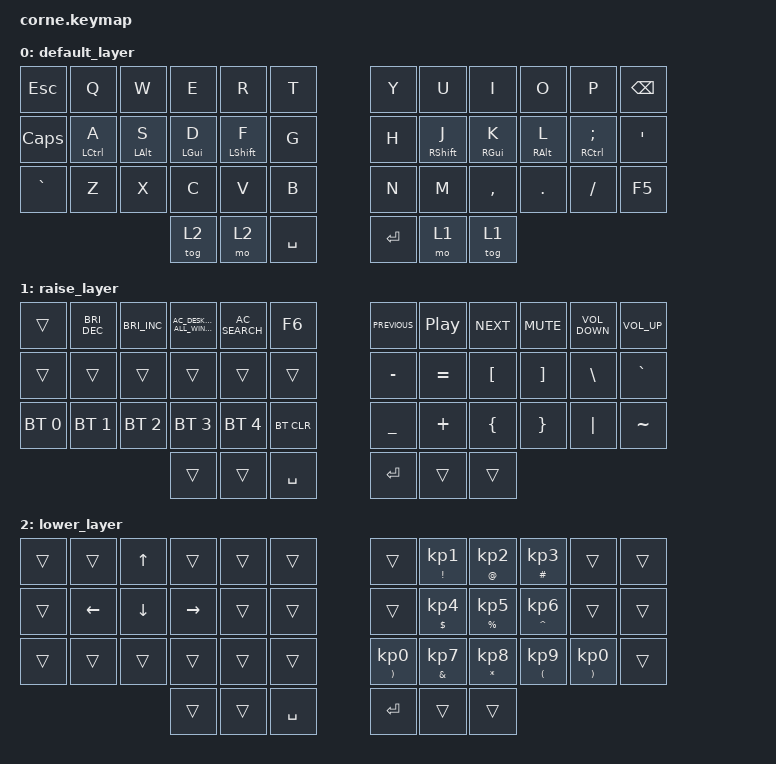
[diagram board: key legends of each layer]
/*
 * Copyright (c) 2020 The ZMK Contributors
 *
 * SPDX-License-Identifier: MIT
 */

#include <behaviors.dtsi>
#include <dt-bindings/zmk/bt.h>
#include <dt-bindings/zmk/keys.h>

/ {
    behaviors {
        HMR: HMR {
            compatible = "zmk,behavior-hold-tap";
            label = "HMR";
            bindings = <&kp>, <&kp>;

            #binding-cells = <2>;
            tapping-term-ms = <280>;
            quick-tap-ms = <175>;
            flavor = "tap-preferred";
            hold-trigger-on-release;
            hold-trigger-key-positions = <18 19 20 21 22 30 31 32 33 9 8 7 34>;
        };

        HML: HML {
            compatible = "zmk,behavior-hold-tap";
            label = "HML";
            bindings = <&kp>, <&kp>;

            #binding-cells = <2>;
            tapping-term-ms = <280>;
            quick-tap-ms = <175>;
            flavor = "tap-preferred";
            hold-trigger-on-release;
            hold-trigger-key-positions = <14 15 16 17 13>;
        };
    };

    combos {
        compatible = "zmk,combos";

        Tab {
            bindings = <&kp TAB>;
            key-positions = <0 1>;
        };

        Lock {
            bindings = <&kp C_AL_SCREENSAVER>;
            key-positions = <11 10>;
        };
    };

    keymap {
        compatible = "zmk,keymap";

        default_layer {
            // -----------------------------------------------------------------------------------------
            // |  TAB |  Q  |  W  |  E  |  R  |  T  |   |  Y  |  U   |  I  |  O  |  P  | BSPC |
            // | CTRL |  A  |  S  |  D  |  F  |  G  |   |  H  |  J   |  K  |  L  |  ;  |  '   |
            // | SHFT |  Z  |  X  |  C  |  V  |  B  |   |  N  |  M   |  ,  |  .  |  /  | ESC  |
            //                    | GUI | LWR | SPC |   | ENT | RSE  | ALT |

            bindings = <
&kp ESCAPE    &kp Q         &kp W            &kp E            &kp R              &kp T        &kp Y    &kp U               &kp I             &kp O             &kp P            &kp BACKSPACE
&kp CAPSLOCK  &HML LCTRL A  &HML LEFT_ALT S  &HML LEFT_GUI D  &HML LEFT_SHIFT F  &kp G        &kp H    &HMR RIGHT_SHIFT J  &HMR RIGHT_GUI K  &HMR RIGHT_ALT L  &HMR RCTRL SEMI  &kp SQT
&kp GRAVE     &kp Z         &kp X            &kp C            &kp V              &kp B        &kp N    &kp M               &kp COMMA         &kp DOT           &kp FSLH         &kp F5
                                             &tog 2           &mo 2              &kp SPACE    &kp RET  &mo 1               &tog 1
            >;
        };

        raise_layer {
            // -----------------------------------------------------------------------------------------
            // |  TAB |  !  |  @  |  #  |  $  |  %  |   |  ^  |  &  |  *  |  (  |  )  | BSPC |
            // | CTRL |     |     |     |     |     |   |  -  |  =  |  [  |  ]  |  \  |  `   |
            // | SHFT |     |     |     |     |     |   |  _  |  +  |  {  |  }  | "|" |  ~   |
            //                    | GUI |     | SPC |   | ENT |     | ALT |

            bindings = <
&trans        &kp C_BRIGHTNESS_DEC  &kp C_BRIGHTNESS_INC  &kp C_AC_DESKTOP_SHOW_ALL_WINDOWS  &kp C_AC_SEARCH  &kp F6        &kp C_PREVIOUS  &kp C_PLAY_PAUSE  &kp C_NEXT  &kp C_MUTE  &kp C_VOLUME_DOWN  &kp C_VOLUME_UP
&trans        &trans                &trans                &trans                             &trans           &trans        &kp MINUS       &kp EQUAL         &kp LBKT    &kp RBKT    &kp BSLH           &kp GRAVE
&bt BT_SEL 0  &bt BT_SEL 1          &bt BT_SEL 2          &bt BT_SEL 3                       &bt BT_SEL 4     &bt BT_CLR    &kp UNDER       &kp PLUS          &kp LBRC    &kp RBRC    &kp PIPE           &kp TILDE
                                                          &trans                             &trans           &kp SPACE     &kp RET         &trans            &trans
            >;
        };

        lower_layer {
            // -----------------------------------------------------------------------------------------
            // |  TAB |  1  |  2  |  3  |  4  |  5  |   |  6  |  7  |  8  |  9  |  0  | BSPC |
            // | BTCLR| BT1 | BT2 | BT3 | BT4 | BT5 |   | LFT | DWN |  UP | RGT |     |      |
            // | SHFT |     |     |     |     |     |   |     |     |     |     |     |      |
            //                    | GUI |     | SPC |   | ENT |     | ALT |

            bindings = <
&trans  &trans          &kp UP_ARROW    &trans           &trans  &trans       &trans                              &HMR EXCLAMATION KP_NUMBER_1  &HMR AT_SIGN KP_NUMBER_2   &HMR POUND KP_NUMBER_3             &trans                              &trans
&trans  &kp LEFT_ARROW  &kp DOWN_ARROW  &kp RIGHT_ARROW  &trans  &trans       &trans                              &HMR DOLLAR KP_NUMBER_4       &HMR PERCENT KP_NUMBER_5   &HMR CARET KP_NUMBER_6             &trans                              &trans
&trans  &trans          &trans          &trans           &trans  &trans       &HMR RIGHT_PARENTHESIS KP_NUMBER_0  &HMR AMPERSAND KP_NUMBER_7    &HMR ASTERISK KP_NUMBER_8  &HMR LEFT_PARENTHESIS KP_NUMBER_9  &HMR RIGHT_PARENTHESIS KP_NUMBER_0  &trans
                                        &trans           &trans  &kp SPACE    &kp RET                             &trans                        &trans
            >;
        };
    };
};
